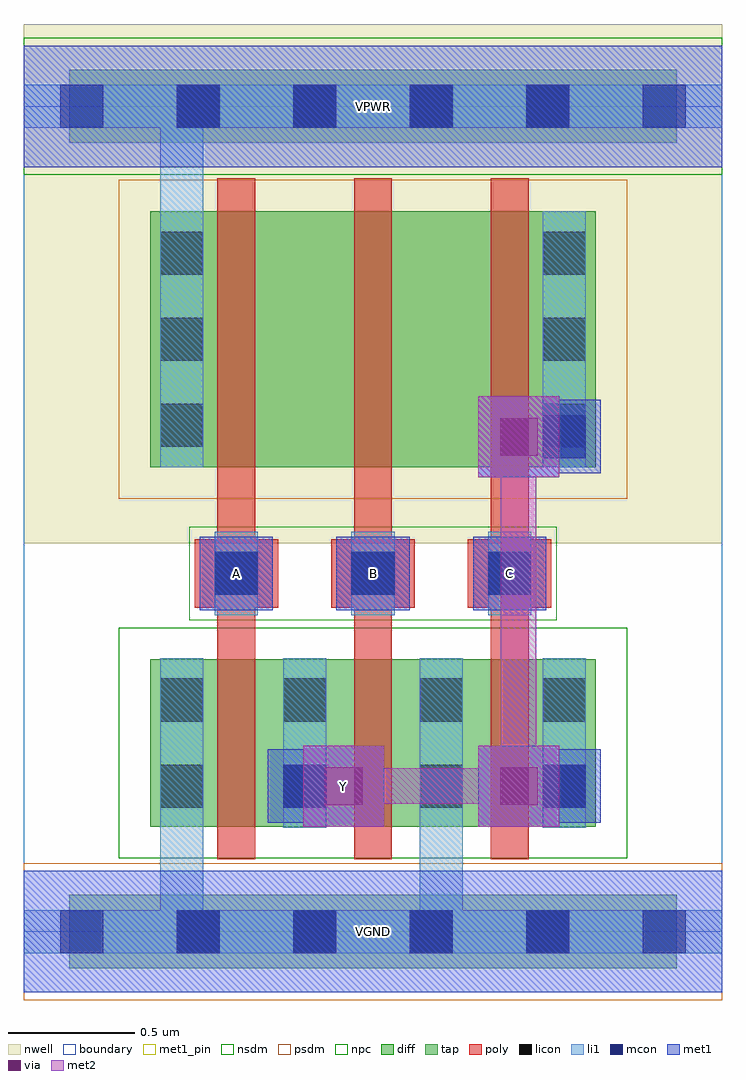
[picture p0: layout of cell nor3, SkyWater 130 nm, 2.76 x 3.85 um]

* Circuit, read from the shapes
.subckt nor3 A B C VGND VPWR Y
XM1 Y A VGND VGND sky130_fd_pr__nfet_01v8 w=0.66 l=0.15
XM2 VGND B Y VGND sky130_fd_pr__nfet_01v8 w=0.66 l=0.15
XM3 Y C VGND VGND sky130_fd_pr__nfet_01v8 w=0.66 l=0.15
XM4 n1 A VPWR VPWR sky130_fd_pr__pfet_01v8 w=1.01 l=0.15
XM5 n2 B n1 VPWR sky130_fd_pr__pfet_01v8 w=1.01 l=0.15
XM6 Y C n2 VPWR sky130_fd_pr__pfet_01v8 w=1.01 l=0.15
.ends

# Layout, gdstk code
import gdstk
lib = gdstk.Library(unit=1e-6, precision=1e-09)
def R(c, l, rs):  # rectangles x0, y0, x1, y1
    for r in rs: c.add(gdstk.rectangle(r[:2], r[2:], *l))
def A(c, l, x, y, w, h, nx, ny, dx, dy):  # array of equal rectangles
    R(c, l, [(x+i*dx, y+j*dy, x+i*dx+w, y+j*dy+h) for i in range(nx) for j in range(ny)])
nwell = (64, 20)
diff = (65, 20)
tap = (65, 44)
poly = (66, 20)
licon = (66, 44)
li1 = (67, 20)
mcon = (67, 44)
met1_pin = (68, 16)
met1 = (68, 20)
via = (68, 44)
met2 = (69, 20)
nsdm = (93, 44)
psdm = (94, 20)
npc = (95, 20)
boundary = (235, 4)

nor3 = lib.new_cell('nor3')
R(nor3, nwell, [(0,1.535,2.76,3.585)])
R(nor3, diff, [(0.5,0.415,2.26,1.075), (0.5,1.835,2.26,2.845)])
R(nor3, tap, [(0.18,-0.145,2.58,0.145), (0.18,3.115,2.58,3.405)])
A(nor3, poly, 0.765, 0.285, 0.15, 2.69, 3, 1, 0.54, 0)
A(nor3, poly, 0.675, 1.28, 0.33, 0.27, 3, 1, 0.54, 0)
A(nor3, licon, 0.605, -0.085, 0.17, 0.17, 4, 2, 0.46, 3.26)
A(nor3, licon, 0.755, 1.33, 0.17, 0.17, 3, 1, 0.54, 0)
A(nor3, licon, 0.54, 1.915, 0.17, 0.17, 1, 3, 0, 0.34)
A(nor3, licon, 2.05, 1.915, 0.17, 0.17, 1, 3, 0, 0.34)
R(nor3, licon, [(0.54,0.49,0.71,0.66), (1.025,0.49,1.195,0.66), (1.565,0.49,1.735,0.66), (2.05,0.49,2.22,0.66), (0.54,0.83,0.71,1), (1.025,0.83,1.195,1), (1.565,0.83,1.735,1), (2.05,0.83,2.22,1)])
A(nor3, li1, 0.755, 1.25, 0.17, 0.33, 3, 1, 0.54, 0)
R(nor3, li1, [(0,-0.085,2.76,0.085), (0.54,-0.085,0.71,1.08), (1.565,-0.085,1.735,1.08), (0.54,0.41,0.71,1.08), (1.025,0.41,1.195,1.08), (1.565,0.41,1.735,1.08), (2.05,0.41,2.22,1.08), (0.54,1.835,0.71,2.845), (0.54,1.835,0.71,3.345), (2.05,1.835,2.22,2.845), (0,3.175,2.76,3.345)])
A(nor3, mcon, 0.145, -0.085, 0.17, 0.17, 6, 2, 0.46, 3.26)
A(nor3, mcon, 0.755, 1.33, 0.17, 0.17, 3, 1, 0.54, 0)
R(nor3, mcon, [(1.025,0.49,1.195,0.66), (2.05,0.49,2.22,0.66), (2.05,1.87,2.22,2.04)])
A(nor3, met1_pin, 0.695, 1.27, 0.29, 0.29, 3, 1, 0.54, 0)
R(nor3, met1_pin, [(0,-0.24,2.76,0.24), (1.105,0.415,1.425,0.735), (0,3.02,2.76,3.5)])
A(nor3, met1, 0.695, 1.27, 0.29, 0.29, 3, 1, 0.54, 0)
R(nor3, met1, [(0,-0.24,2.76,0.24), (1.105,0.415,1.425,0.735), (1.795,0.415,2.115,0.735), (0.965,0.43,1.255,0.72), (1.99,0.43,2.28,0.72), (1.04,0.505,1.335,0.645), (1.885,0.505,2.205,0.645), (1.795,1.795,2.115,2.115), (1.99,1.81,2.28,2.1), (1.885,1.885,2.205,2.025), (0,3.02,2.76,3.5)])
R(nor3, via, [(1.19,0.5,1.34,0.65), (1.88,0.5,2.03,0.65), (1.88,1.88,2.03,2.03)])
R(nor3, met2, [(1.105,0.415,1.425,0.735), (1.795,0.415,2.115,0.735), (1.195,0.505,2.025,0.645), (1.885,0.505,2.025,2.025), (1.795,1.795,2.115,2.115)])
R(nor3, nsdm, [(0.375,0.29,2.385,1.2), (0,2.99,2.76,3.53)])
R(nor3, psdm, [(0,-0.27,2.76,0.27), (0.375,1.71,2.385,2.97)])
R(nor3, npc, [(0.655,1.23,2.105,1.6)])
R(nor3, boundary, [(0,0,2.76,3.26)])
nor3.add(gdstk.Label('A', (0.84,1.415), layer=68, texttype=5))
nor3.add(gdstk.Label('B', (1.38,1.415), layer=68, texttype=5))
nor3.add(gdstk.Label('C', (1.92,1.415), layer=68, texttype=5))
nor3.add(gdstk.Label('Y', (1.265,0.575), layer=68, texttype=5))
nor3.add(gdstk.Label('VPWR', (1.38,3.26), layer=68, texttype=5))
nor3.add(gdstk.Label('VGND', (1.38,0), layer=68, texttype=5))
nor3.add(gdstk.Label('A', (0.84,1.415), layer=68, texttype=16))
nor3.add(gdstk.Label('B', (1.38,1.415), layer=68, texttype=16))
nor3.add(gdstk.Label('C', (1.92,1.415), layer=68, texttype=16))
nor3.add(gdstk.Label('Y', (1.265,0.575), layer=68, texttype=16))
nor3.add(gdstk.Label('VPWR', (1.38,3.26), layer=68, texttype=16))
nor3.add(gdstk.Label('VGND', (1.38,0), layer=68, texttype=16))

lib.write_gds('nor3.gds')
